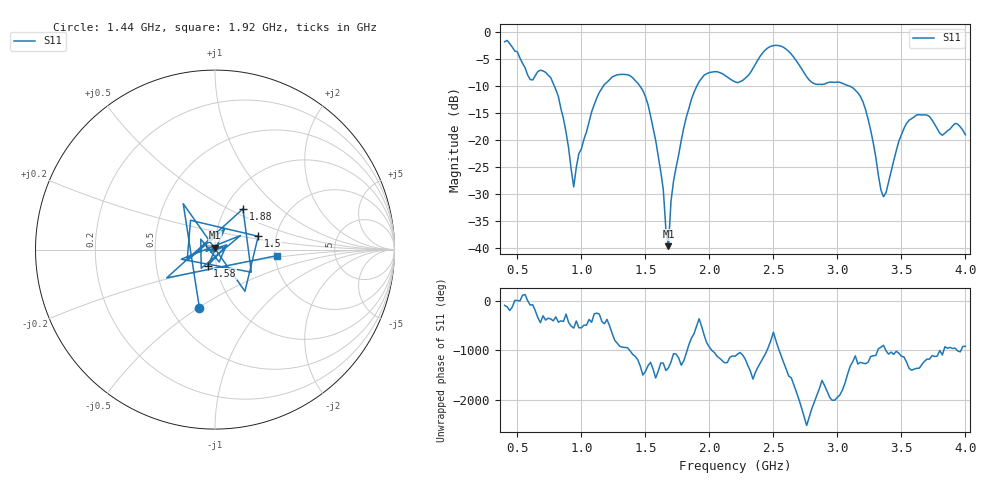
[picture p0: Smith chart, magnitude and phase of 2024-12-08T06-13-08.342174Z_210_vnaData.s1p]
!Created with skrf (http://scikit-rf.org).
# Hz S RI R 50.0
!freq ReS11 ImS11
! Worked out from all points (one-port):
!   181 points, 400 MHz to 4 GHz, reference 50 ohm
!   lowest |S11| = -39.7 dB at 1.68 GHz (marker M1), VSWR 1.02, Z = 50 + j1.03 ohm
!   |S11| at or under -10 dB: 788 MHz to 1.173 GHz (384.9 MHz wide, 39.3 % of centre); 1.456 GHz to 1.903 GHz (446.9 MHz wide, 26.6 % of centre); 3.087 GHz to end of sweep
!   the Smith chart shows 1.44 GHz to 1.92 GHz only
!   S11 on the Smith chart (normalised r, x): 1.44 GHz: 0.69, -0.50; 1.5 GHz: 1.61, +0.25; 1.58 GHz: 0.91, -0.17; 1.88 GHz: 1.21, +0.59; 1.92 GHz: 2.04, -0.16
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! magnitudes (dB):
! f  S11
! 400 MHz  -1.8
! 600 MHz  -8.8
! 760 MHz  -8.5
! 860 MHz  -16.1
! 940 MHz  -28.7
! 980 MHz  -22.6
! 1.12 GHz  -12.3
! 1.3 GHz  -7.9
! 1.44 GHz  -9.5
! 1.5 GHz  -12.0
! 1.58 GHz  -20.1
! 1.64 GHz  -29.3
! 1.66 GHz  -36.6
! 1.68 GHz  -39.7
! 1.7 GHz  -31.4
! 1.76 GHz  -22.8
! 1.88 GHz  -11.2
! 1.92 GHz  -9.2
! 2.04 GHz  -7.4
! 2.2 GHz  -9.3
! 2.48 GHz  -2.7
! 2.66 GHz  -4.7
! 2.82 GHz  -9.6
! 3.1 GHz  -10.1
! 3.22 GHz  -14.4
! 3.36 GHz  -30.6
! 3.56 GHz  -16.4
! 4 GHz  -19.1
